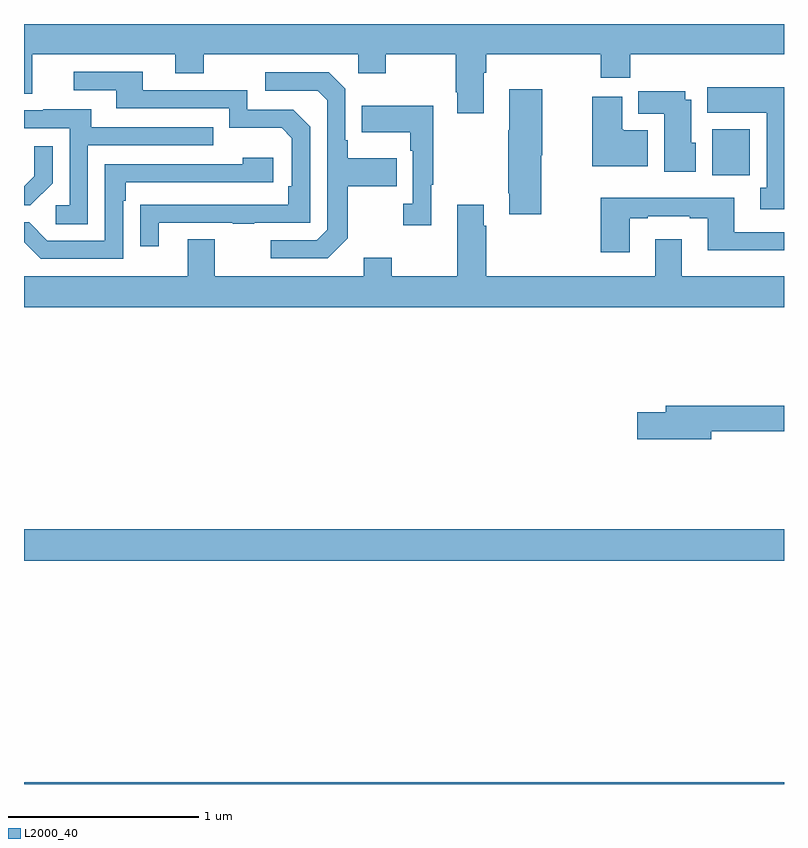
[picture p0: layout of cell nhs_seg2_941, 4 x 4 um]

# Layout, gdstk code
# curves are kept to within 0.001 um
import gdstk
lib = gdstk.Library(unit=1e-6, precision=1e-09)
def R(c, l, rs):  # rectangles x0, y0, x1, y1
    for r in rs: c.add(gdstk.rectangle(r[:2], r[2:], *l))
def P(c, l, *ps):  # polygons
    for p in ps: c.add(gdstk.Polygon(p, *l))
L2000_40 = (2000, 40)

nhs_seg2_941 = lib.new_cell('nhs_seg2_941')
R(nhs_seg2_941, L2000_40, [(159,639.8,163,639.808), (159,640.976,163,641.14), (162.623,643.004,162.82,643.246)])
P(nhs_seg2_941, L2000_40, [(161.419,643.544),(161.432,643.544),(161.432,643.64),(162.035,643.64),(162.035,643.516),(162.191,643.516),(162.191,643.64),(163,643.64),(163,643.8),(159,643.8),(159,643.432),(159.043,643.432),(159.043,643.64),(159.797,643.64),(159.797,643.541),(159.945,643.541),(159.945,643.64),(160.758,643.64),(160.758,643.541),(160.905,643.541),(160.905,643.64),(161.272,643.64),(161.272,643.441),(161.279,643.441),(161.279,643.329),(161.419,643.329)],
  [(159.709,642.753),(160.099,642.753),(160.099,642.748),(160.211,642.748),(160.211,642.753),(160.506,642.753),(160.506,643.26),(160.416,643.35),(160.176,643.35),(160.176,643.452),(159.625,643.452),(159.625,643.548),(159.261,643.548),(159.261,643.452),(159.485,643.452),(159.485,643.356),(160.08,643.356),(160.08,643.253),(160.357,643.253),(160.41,643.2),(160.41,642.946),(160.39,642.946),(160.39,642.849),(159.613,642.848),(159.613,642.63),(159.709,642.63)],
  [(160.705,642.673),(160.705,642.946),(160.961,642.946),(160.961,643.093),(160.705,643.093),(160.705,643.189),(160.692,643.189),(160.692,643.458),(160.605,643.545),(160.269,643.545),(160.269,643.449),(160.545,643.449),(160.596,643.398),(160.596,642.717),(160.542,642.663),(160.299,642.663),(160.299,642.567),(160.599,642.567)],
  [(163,643.468),(162.596,643.468),(162.596,643.334),(162.908,643.334),(162.908,642.938),(162.875,642.938),(162.875,642.825),(163,642.825)],
  [(161.723,643.11),(161.728,643.11),(161.728,643.456),(161.555,643.456),(161.555,643.241),(161.548,643.241),(161.548,642.91),(161.555,642.91),(161.555,642.798),(161.723,642.798)],
  [(162.535,643.176),(162.511,643.176),(162.511,643.402),(162.481,643.402),(162.481,643.446),(162.233,643.446),(162.233,643.328),(162.371,643.328),(162.371,643.022),(162.535,643.022)],
  [(162.283,643.24),(162.154,643.24),(162.154,643.246),(162.148,643.246),(162.148,643.417),(161.99,643.417),(161.99,643.052),(162.283,643.052)],
  [(161.143,642.953),(161.155,642.953),(161.155,643.369),(160.777,643.369),(160.777,643.229),(161.034,643.229),(161.034,643.133),(161.046,643.133),(161.046,642.854),(160.995,642.854),(160.995,642.741),(161.143,642.741)],
  [(159.336,643.161),(159.995,643.161),(159.995,643.257),(159.355,643.257),(159.355,643.351),(159.101,643.351),(159.101,643.347),(159,643.347),(159,643.251),(159.24,643.251),(159.24,642.846),(159.168,642.846),(159.168,642.745),(159.336,642.745)],
  [(159.15,642.962),(159.15,643.156),(159.053,643.156),(159.053,642.999),(159,642.946),(159,642.846),(159.034,642.846)],
  [(159.522,642.869),(159.535,642.869),(159.535,642.966),(160.312,642.966),(160.312,643.096),(160.151,643.096),(160.151,643.062),(159.426,643.062),(159.426,642.66),(159.123,642.66),(159.027,642.756),(159,642.756),(159,642.651),(159.087,642.564),(159.522,642.564)],
  [(162.187,642.777),(162.283,642.777),(162.283,642.789),(162.503,642.789),(162.503,642.777),(162.599,642.777),(162.599,642.608),(163,642.608),(163,642.705),(162.739,642.705),(162.739,642.886),(162.035,642.886),(162.035,642.6),(162.187,642.6)],
  [(163,642.472),(162.463,642.472),(162.463,642.667),(162.323,642.667),(162.323,642.472),(161.432,642.472),(161.432,642.737),(161.419,642.737),(161.419,642.85),(161.279,642.85),(161.279,642.472),(160.935,642.472),(160.935,642.571),(160.787,642.571),(160.787,642.472),(160.003,642.472),(160.003,642.667),(159.863,642.667),(159.863,642.472),(159,642.472),(159,642.308),(163,642.308)],
  [(162.616,641.656),(163,641.656),(163,641.792),(162.377,641.792),(162.377,641.756),(162.228,641.756),(162.228,641.614),(162.616,641.614)])

lib.write_gds('nhs_seg2_941.gds')
